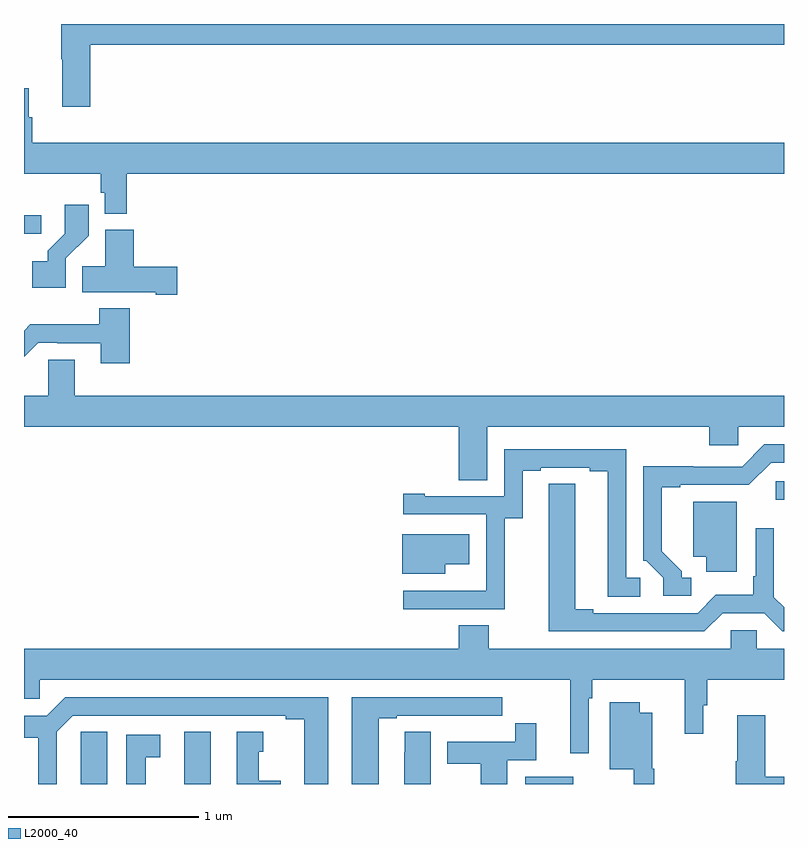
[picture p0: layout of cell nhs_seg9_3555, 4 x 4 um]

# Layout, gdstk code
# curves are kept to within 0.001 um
import gdstk
lib = gdstk.Library(unit=1e-6, precision=1e-09)
def R(c, l, rs):  # rectangles x0, y0, x1, y1
    for r in rs: c.add(gdstk.rectangle(r[:2], r[2:], *l))
def P(c, l, *ps):  # polygons
    for p in ps: c.add(gdstk.Polygon(p, *l))
L2000_40 = (2000, 40)

nhs_seg9_3555 = lib.new_cell('nhs_seg9_3555')
R(nhs_seg9_3555, L2000_40, [(313.844,1234.5,313.984,1234.774), (315.638,1234.5,315.892,1234.537), (316.956,1235.996,317,1236.093), (313,1237.395,313.09,1237.494)])
P(nhs_seg9_3555, L2000_40, [(313.349,1238.392),(317,1238.392),(317,1238.5),(313.195,1238.5),(313.195,1238.315),(313.202,1238.315),(313.202,1238.064),(313.349,1238.064)],
  [(313.541,1237.712),(317,1237.712),(317,1237.876),(313.043,1237.876),(313.043,1238.01),(313.024,1238.01),(313.024,1238.161),(313,1238.161),(313,1237.712),(313.405,1237.712),(313.405,1237.611),(313.425,1237.611),(313.425,1237.502),(313.541,1237.502)],
  [(313.221,1237.267),(313.34,1237.386),(313.34,1237.549),(313.215,1237.549),(313.215,1237.397),(313.124,1237.307),(313.124,1237.252),(313.044,1237.252),(313.044,1237.112),(313.221,1237.112)],
  [(313.807,1237.223),(313.577,1237.223),(313.577,1237.417),(313.427,1237.417),(313.427,1237.226),(313.306,1237.226),(313.306,1237.088),(313.694,1237.088),(313.694,1237.076),(313.807,1237.076)],
  [(313.556,1237.003),(313.396,1237.003),(313.396,1236.919),(313.033,1236.919),(313,1236.886),(313,1236.749),(313.074,1236.822),(313.174,1236.822),(313.174,1236.819),(313.403,1236.819),(313.403,1236.714),(313.556,1236.714)],
  [(315.439,1236.38),(316.607,1236.38),(316.607,1236.282),(316.758,1236.282),(316.758,1236.38),(317,1236.38),(317,1236.544),(313.267,1236.544),(313.267,1236.734),(313.128,1236.734),(313.128,1236.544),(313,1236.544),(313,1236.38),(315.287,1236.38),(315.287,1236.1),(315.439,1236.1)],
  [(316.513,1235.586),(316.462,1235.586),(316.462,1235.621),(316.357,1235.726),(316.357,1236.063),(316.453,1236.063),(316.453,1236.075),(316.815,1236.075),(316.932,1236.192),(317,1236.192),(317,1236.288),(316.896,1236.288),(316.779,1236.171),(316.523,1236.171),(316.523,1236.173),(316.26,1236.173),(316.26,1235.676),(316.275,1235.676),(316.365,1235.586),(316.365,1235.49),(316.513,1235.49)],
  [(315.531,1235.899),(315.625,1235.899),(315.625,1236.15),(315.721,1236.15),(315.721,1236.165),(315.977,1236.165),(315.977,1236.145),(316.073,1236.145),(316.073,1235.485),(316.243,1235.485),(316.243,1235.586),(316.17,1235.586),(316.17,1236.261),(315.528,1236.261),(315.528,1236.015),(315.109,1236.015),(315.109,1236.028),(314.997,1236.028),(314.997,1235.919),(315.432,1235.919),(315.432,1235.518),(315.431,1235.518),(315.431,1235.517),(314.997,1235.517),(314.997,1235.421),(315.531,1235.421)],
  [(316.677,1235.4),(316.895,1235.4),(316.991,1235.304),(317,1235.304),(317,1235.431),(316.947,1235.484),(316.947,1235.845),(316.851,1235.845),(316.851,1235.593),(316.839,1235.593),(316.839,1235.496),(316.641,1235.496),(316.545,1235.4),(315.997,1235.4),(315.997,1235.42),(315.901,1235.42),(315.901,1236.08),(315.762,1236.08),(315.761,1235.304),(316.581,1235.304)],
  [(316.75,1235.986),(316.523,1235.986),(316.523,1235.696),(316.592,1235.696),(316.592,1235.616),(316.75,1235.616)],
  [(315.217,1235.657),(315.343,1235.657),(315.343,1235.815),(314.99,1235.815),(314.99,1235.606),(315.217,1235.606)],
  [(315.972,1234.952),(315.992,1234.952),(315.992,1235.048),(316.477,1235.048),(316.477,1234.764),(316.576,1234.764),(316.576,1234.914),(316.595,1234.914),(316.595,1235.048),(317,1235.048),(317,1235.212),(316.857,1235.212),(316.857,1235.31),(316.719,1235.31),(316.719,1235.212),(315.447,1235.212),(315.447,1235.336),(315.287,1235.336),(315.287,1235.212),(313,1235.212),(313,1234.95),(313.083,1234.95),(313.083,1235.048),(315.875,1235.048),(315.875,1234.662),(315.972,1234.662)],
  [(314.866,1234.845),(314.962,1234.845),(314.962,1234.86),(315.238,1234.86),(315.238,1234.859),(315.404,1234.859),(315.404,1234.86),(315.517,1234.86),(315.517,1234.956),(314.726,1234.956),(314.726,1234.5),(314.866,1234.5)],
  [(313.173,1234.776),(313.257,1234.86),(314.378,1234.86),(314.378,1234.84),(314.474,1234.84),(314.474,1234.5),(314.602,1234.5),(314.602,1234.956),(313.217,1234.956),(313.121,1234.86),(313,1234.86),(313,1234.744),(313.076,1234.744),(313.076,1234.5),(313.173,1234.5)],
  [(316.318,1234.581),(316.306,1234.581),(316.306,1234.876),(316.24,1234.876),(316.24,1234.93),(316.082,1234.93),(316.082,1234.577),(316.209,1234.577),(316.209,1234.5),(316.318,1234.5)],
  [(317,1234.538),(316.901,1234.538),(316.901,1234.861),(316.754,1234.861),(316.754,1234.621),(316.747,1234.621),(316.747,1234.5),(317,1234.5)],
  [(315.544,1234.626),(315.695,1234.626),(315.695,1234.819),(315.586,1234.819),(315.586,1234.722),(315.227,1234.722),(315.227,1234.606),(315.404,1234.606),(315.404,1234.5),(315.544,1234.5)],
  [(313.438,1234.775),(313.299,1234.775),(313.299,1234.667),(313.298,1234.667),(313.298,1234.5),(313.438,1234.5)],
  [(315.142,1234.775),(315.003,1234.775),(315.003,1234.667),(315.002,1234.667),(315.002,1234.5),(315.142,1234.5)],
  [(314.35,1234.516),(314.236,1234.516),(314.236,1234.671),(314.26,1234.671),(314.26,1234.774),(314.12,1234.774),(314.12,1234.5),(314.35,1234.5)],
  [(313.642,1234.642),(313.717,1234.642),(313.717,1234.758),(313.538,1234.758),(313.538,1234.5),(313.642,1234.5)])

lib.write_gds('nhs_seg9_3555.gds')
